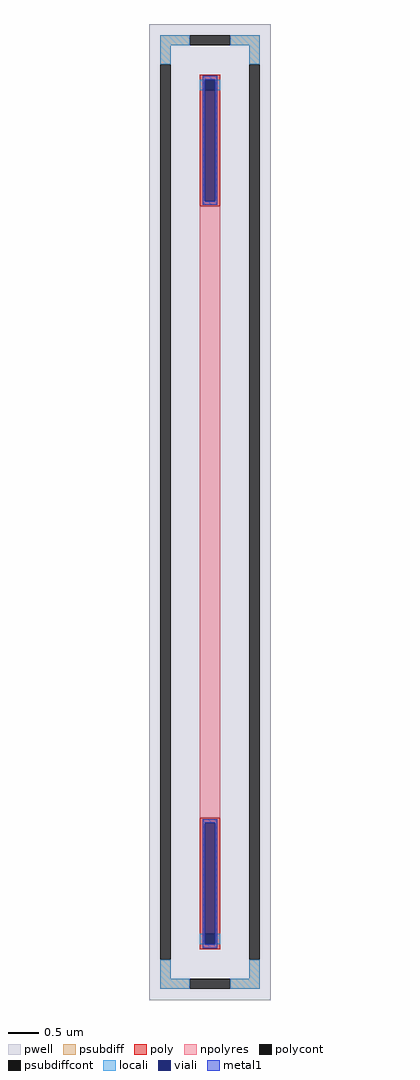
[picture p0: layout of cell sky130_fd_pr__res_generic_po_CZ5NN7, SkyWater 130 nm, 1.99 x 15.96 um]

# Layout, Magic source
magic
tech sky130A
magscale 1 2
<< pwell >>
rect -199 -1596 199 1596
<< psubdiff >>
rect -163 1526 -67 1560
rect 67 1526 163 1560
rect -163 1464 -129 1526
rect 129 1464 163 1526
rect -163 -1526 -129 -1464
rect 129 -1526 163 -1464
rect -163 -1560 -67 -1526
rect 67 -1560 163 -1526
<< psubdiffcont >>
rect -67 1526 67 1560
rect -163 -1464 -129 1464
rect 129 -1464 163 1464
rect -67 -1560 67 -1526
<< poly >>
rect -33 1414 33 1430
rect -33 1380 -17 1414
rect 17 1380 33 1414
rect -33 1000 33 1380
rect -33 -1380 33 -1000
rect -33 -1414 -17 -1380
rect 17 -1414 33 -1380
rect -33 -1430 33 -1414
<< polycont >>
rect -17 1380 17 1414
rect -17 -1414 17 -1380
<< npolyres >>
rect -33 -1000 33 1000
<< locali >>
rect -163 1526 -67 1560
rect 67 1526 163 1560
rect -163 1464 -129 1526
rect 129 1464 163 1526
rect -33 1380 -17 1414
rect 17 1380 33 1414
rect -33 -1414 -17 -1380
rect 17 -1414 33 -1380
rect -163 -1526 -129 -1464
rect 129 -1526 163 -1464
rect -163 -1560 -67 -1526
rect 67 -1560 163 -1526
<< viali >>
rect -17 1380 17 1414
rect -17 1017 17 1380
rect -17 -1380 17 -1017
rect -17 -1414 17 -1380
<< metal1 >>
rect -23 1414 23 1426
rect -23 1017 -17 1414
rect 17 1017 23 1414
rect -23 1005 23 1017
rect -23 -1017 23 -1005
rect -23 -1414 -17 -1017
rect 17 -1414 23 -1017
rect -23 -1426 23 -1414
<< properties >>
string FIXED_BBOX -146 -1543 146 1543
string gencell sky130_fd_pr__res_generic_po
string library sky130
string parameters w 0.330 l 10 m 1 nx 1 wmin 0.330 lmin 1.650 rho 48.2 val 1.46k dummy 0 dw 0.0 term 0.0 sterm 0.0 caplen 0.4 snake 0 guard 1 glc 1 grc 1 gtc 1 gbc 1 roverlap 0 endcov 100 full_metal 1 hv_guard 0 n_guard 0 vias 1 viagb 0 viagt 0 viagl 0 viagr 0
<< end >>
